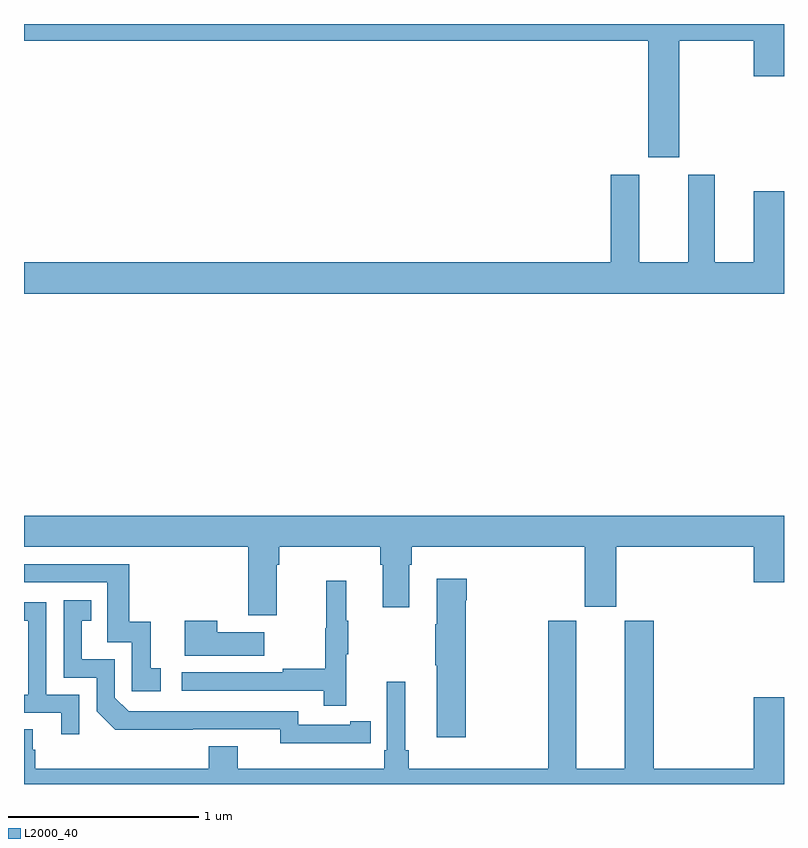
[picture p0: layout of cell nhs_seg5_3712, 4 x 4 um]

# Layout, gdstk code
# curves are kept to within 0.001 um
import gdstk
lib = gdstk.Library(unit=1e-6, precision=1e-09)
def P(c, l, *ps):  # polygons
    for p in ps: c.add(gdstk.Polygon(p, *l))
L2000_40 = (2000, 40)

nhs_seg5_3712 = lib.new_cell('nhs_seg5_3712')
P(nhs_seg5_3712, L2000_40, [(332.449,904.712),(332.84,904.712),(332.84,904.524),(333,904.524),(333,904.799),(329,904.799),(329,904.712),(332.285,904.712),(332.285,904.098),(332.449,904.098)],
  [(333,903.919),(332.84,903.919),(332.84,903.544),(332.635,903.544),(332.635,904.006),(332.495,904.006),(332.495,903.544),(332.239,903.544),(332.239,904.006),(332.087,904.006),(332.087,903.544),(329,903.544),(329,903.38),(333,903.38)],
  [(330.331,901.952),(330.344,901.952),(330.344,902.048),(330.875,902.048),(330.875,901.952),(330.887,901.952),(330.887,901.728),(331.027,901.728),(331.027,901.952),(331.04,901.952),(331.04,902.048),(331.952,902.048),(331.952,901.731),(332.116,901.731),(332.116,902.048),(332.84,902.048),(332.84,901.86),(333,901.86),(333,902.212),(329,902.212),(329,902.048),(330.179,902.048),(330.179,901.686),(330.331,901.686)],
  [(329.719,901.407),(329.666,901.407),(329.666,901.654),(329.555,901.654),(329.555,901.956),(329,901.956),(329,901.86),(329.439,901.86),(329.439,901.545),(329.568,901.545),(329.568,901.287),(329.719,901.287)],
  [(331.326,901.766),(331.331,901.766),(331.331,901.879),(331.172,901.879),(331.172,901.64),(331.165,901.64),(331.165,901.423),(331.172,901.423),(331.172,901.044),(331.326,901.044)],
  [(330.695,901.483),(330.706,901.483),(330.706,901.657),(330.695,901.657),(330.695,901.87),(330.592,901.87),(330.592,901.62),(330.585,901.62),(330.585,901.406),(330.361,901.406),(330.361,901.386),(329.829,901.386),(329.829,901.29),(330.577,901.29),(330.577,901.212),(330.695,901.212)],
  [(330.716,901.014),(330.824,901.014),(330.824,901.13),(330.716,901.13),(330.716,901.11),(330.444,901.11),(330.444,901.182),(329.55,901.182),(329.478,901.254),(329.478,901.455),(329.305,901.455),(329.305,901.659),(329.354,901.659),(329.354,901.765),(329.208,901.765),(329.208,901.359),(329.382,901.359),(329.382,901.182),(329.48,901.085),(330.348,901.086),(330.348,901.013)],
  [(329.292,901.269),(329.118,901.269),(329.118,901.755),(329,901.755),(329,901.658),(329.022,901.658),(329.022,901.269),(329,901.269),(329,901.173),(329.195,901.173),(329.195,901.062),(329.292,901.062)],
  [(333,901.255),(332.84,901.255),(332.84,900.88),(332.315,900.88),(332.315,901.659),(332.162,901.659),(332.162,900.88),(331.906,900.88),(331.906,901.659),(331.759,901.659),(331.759,900.88),(331.025,900.88),(331.025,900.976),(331.006,900.976),(331.006,901.336),(330.909,901.336),(330.909,900.976),(330.896,900.976),(330.896,900.88),(330.124,900.88),(330.124,900.997),(329.972,900.997),(329.972,900.88),(329.06,900.88),(329.06,900.978),(329.047,900.978),(329.047,901.088),(329,901.088),(329,900.799),(333,900.799)],
  [(330.265,901.597),(330.017,901.597),(330.017,901.657),(329.846,901.657),(329.846,901.475),(330.265,901.475)])

lib.write_gds('nhs_seg5_3712.gds')
